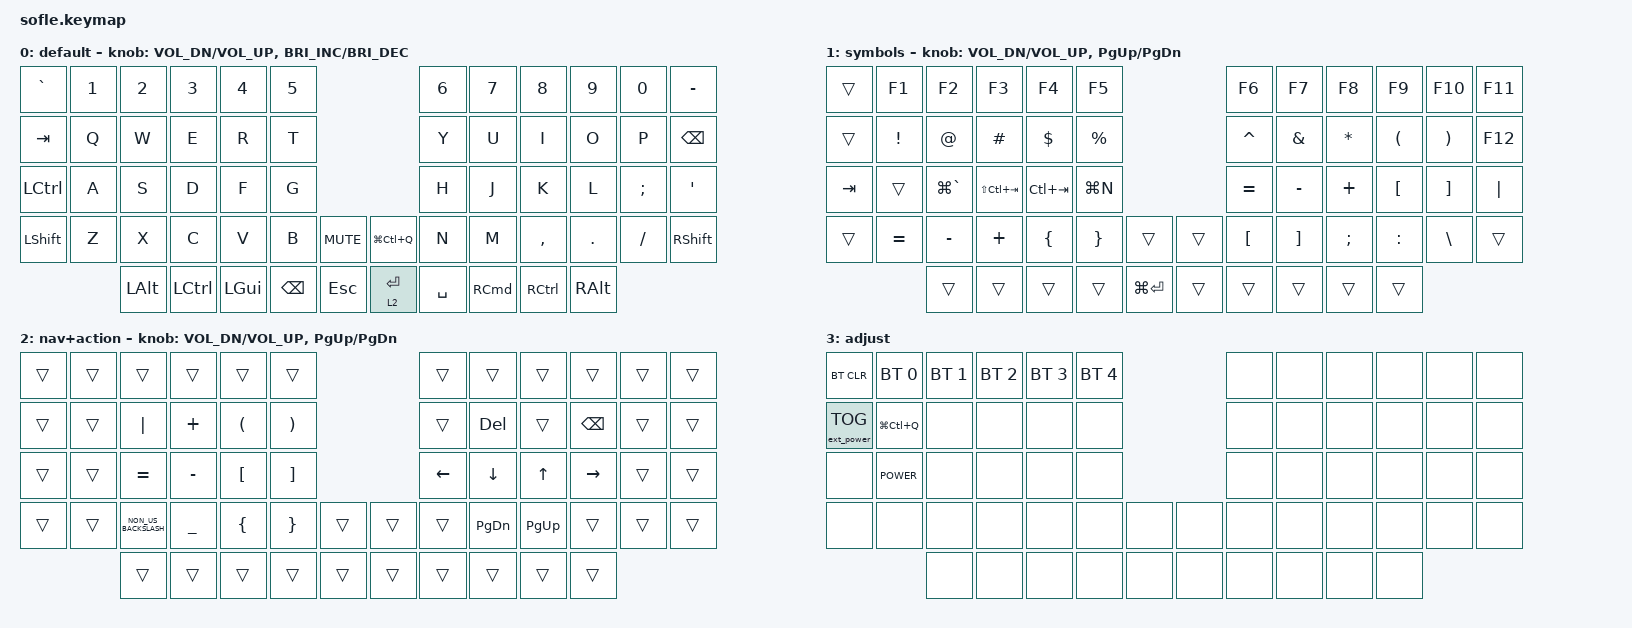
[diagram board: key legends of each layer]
/*
 * Copyright (c) 2020 The ZMK Contributors
 *
 * SPDX-License-Identifier: MIT
 */

#include <behaviors.dtsi>
#include <dt-bindings/zmk/bt.h>
#include <dt-bindings/zmk/ext_power.h>
#include <dt-bindings/zmk/keys.h>

#define BASE 0
#define LOWER 1
#define RAISE 2
#define ADJUST 3

/ {
    // Activate ADJUST layer by pressing raise and lower

    conditional_layers {
        compatible = "zmk,conditional-layers";

        adjust_layer {
            if-layers = <1 2>;
            then-layer = <3>;
        };
    };

    behaviors {
        hold_tap: hold_tap {
            compatible = "zmk,behavior-hold-tap";
            label = "HOLD_TAP";
            bindings = <&kp>, <&kp>;

            #binding-cells = <2>;
            tapping-term-ms = <200>;
        };
    };

    keymap {
        compatible = "zmk,keymap";

        default_layer {
            display-name = "default";

            // ------------------------------------------------------------------------------------------------------------
            // |   `   |  1  |  2  |  3   |  4   |  5   |                   |  6   |  7    |  8    |  9   |   0   |       |
            // |  ESC  |  Q  |  W  |  E   |  R   |  T   |                   |  Y   |  U    |  I    |  O   |   P   | BKSPC |
            // |  TAB  |  A  |  S  |  D   |  F   |  G   |                   |  H   |  J    |  K    |  L   |   ;   |   '   |
            // | SHIFT |  Z  |  X  |  C   |  V   |  B   |  MUTE  |  |       |  N   |  M    |  ,    |  .   |   /   | SHIFT |
            //               | GUI | ALT  | CTRL | LOWER|  ENTER |  | SPACE | RAISE| CTRL  | ALT   | GUI  |

            bindings = <
&kp GRAVE  &kp N1  &kp N2        &kp N3            &kp N4    &kp N5                                      &kp N6     &kp N7             &kp N8     &kp N9         &kp N0    &kp MINUS
&kp TAB    &kp Q   &kp W         &kp E             &kp R     &kp T                                       &kp Y      &kp U              &kp I      &kp O          &kp P     &kp BSPC
&kp LCTRL  &kp A   &kp S         &kp D             &kp F     &kp G                                       &kp H      &kp J              &kp K      &kp L          &kp SEMI  &kp SQT
&kp LSHFT  &kp Z   &kp X         &kp C             &kp V     &kp B          &kp C_MUTE    &kp LG(LC(Q))  &kp N      &kp M              &kp COMMA  &kp DOT        &kp FSLH  &kp RSHFT
                   &kp LEFT_ALT  &kp LEFT_CONTROL  &kp LGUI  &kp BACKSPACE  &kp ESCAPE    &lt 2 ENTER    &kp SPACE  &kp RIGHT_COMMAND  &kp RCTRL  &kp RIGHT_ALT
            >;

            sensor-bindings =
                <&inc_dec_kp C_VOL_DN C_VOL_UP>,
                <&inc_dec_kp C_BRIGHTNESS_INC C_BRIGHTNESS_DEC>;
        };

        left_layer {
            display-name = "symbols";

            // TODO: Some binds are waiting for shifted keycode support.
            // ------------------------------------------------------------------------------------------------------------
            // |       |  F1 |  F2 |  F3  |  F4  |  F5  |                   |  F6  |  F7   |  F8   |  F9  |  F10  |  F11  |
            // |   `   |  1  |  2  |  3   |  4   |  5   |                   |  6   |  7    |  8    |  9   |   0   |  F12  |
            // |       |  !  |  @  |  #   |  $   |  %   |                   |  ^   |  &    |  *    |  (   |   )   |   |   |
            // |       |  =  |  -  |  +   |  {   |  }   |        |  |       |  [   |  ]    |  ;    |  :   |   \   |       |
            //               |     |      |      |      |        |  |       |      |       |       |      |

            bindings = <
&trans   &kp F1     &kp F2         &kp F3           &kp F4       &kp F5                              &kp F6     &kp F7     &kp F8     &kp F9     &kp F10   &kp F11
&trans   &kp EXCL   &kp AT         &kp HASH         &kp DLLR     &kp PRCNT                           &kp CARET  &kp AMPS   &kp ASTRK  &kp LPAR   &kp RPAR  &kp F12
&kp TAB  &trans     &kp LG(GRAVE)  &kp LS(LC(TAB))  &kp LC(TAB)  &kp LG(N)                           &kp EQUAL  &kp MINUS  &kp PLUS   &kp LBKT   &kp RBKT  &kp PIPE
&trans   &kp EQUAL  &kp MINUS      &kp PLUS         &kp LBRC     &kp RBRC   &trans           &trans  &kp LBKT   &kp RBKT   &kp SEMI   &kp COLON  &kp BSLH  &trans
                    &trans         &trans           &trans       &trans     &kp LG(ENTER)    &trans  &trans     &trans     &trans     &trans
            >;

            sensor-bindings =
                <&inc_dec_kp C_VOL_DN C_VOL_UP>,
                <&inc_dec_kp PG_UP PG_DN>;
        };

        right_layer {
            display-name = "nav+action";

            // ------------------------------------------------------------------------------------------------------------
            // | BTCLR | BT1  | BT2  |  BT3  |  BT4  |  BT5 |                |      |      |       |      |       |       |
            // |       | INS  | PSCR | GUI   |       |      |                | PGUP |      |   ^   |      |       |       |
            // |       | ALT  | CTRL | SHIFT |       | CAPS |                | PGDN |   <- |   v   |  ->  |  DEL  | BKSPC |
            // |       | UNDO | CUT  | COPY  | PASTE |      |      |  |      |      |      |       |      |       |       |
            //                |      |       |       |      |      |  |      |      |      |       |      |

            bindings = <
&trans  &trans  &trans                &trans          &trans                &trans                                   &trans    &trans     &trans     &trans     &trans  &trans
&trans  &trans  &kp PIPE              &kp PLUS        &kp LEFT_PARENTHESIS  &kp RIGHT_PARENTHESIS                    &trans    &kp DEL    &trans     &kp BSPC   &trans  &trans
&trans  &trans  &kp EQUAL             &kp MINUS       &kp LEFT_BRACKET      &kp RIGHT_BRACKET                        &kp LEFT  &kp DOWN   &kp UP     &kp RIGHT  &trans  &trans
&trans  &trans  &kp NON_US_BACKSLASH  &kp UNDERSCORE  &kp LEFT_BRACE        &kp RIGHT_BRACE        &trans    &trans  &trans    &kp PG_DN  &kp PG_UP  &trans     &trans  &trans
                &trans                &trans          &trans                &trans                 &trans    &trans  &trans    &trans     &trans     &trans
            >;

            sensor-bindings =
                <&inc_dec_kp C_VOL_DN C_VOL_UP>,
                <&inc_dec_kp PG_UP PG_DN>;
        };

        adjust_layer {
            // ----------------------------------------------------------------------------------------------------------------------------
            // | BTCLR  |  BT1    |  BT2    |   BT3   |   BT4   |   BT5   |                  |      |      |       |      |       |       |
            // | EXTPWR | RGB_HUD | RGB_HUI | RGB_SAD | RGB_SAI | RGB_EFF |                  |      |      |       |      |       |       |
            // |        | RGB_BRD | RGB_BRI |         |         |         |                  |      |      |       |      |       |       |
            // |        |         |         |         |         |         | RGB_TOG | |      |      |      |       |      |       |       |
            //                    |         |         |         |         |         | |      |      |      |       |      |

            display-name = "adjust";
            bindings = <
&bt BT_CLR         &bt BT_SEL 0   &bt BT_SEL 1  &bt BT_SEL 2  &bt BT_SEL 3  &bt BT_SEL 4                  &none  &none  &none  &none  &none  &none
&ext_power EP_TOG  &kp LG(LC(Q))  &none         &none         &none         &none                         &none  &none  &none  &none  &none  &none
&none              &kp K_POWER    &none         &none         &none         &none                         &none  &none  &none  &none  &none  &none
&none              &none          &none         &none         &none         &none         &none    &none  &none  &none  &none  &none  &none  &none
                                  &none         &none         &none         &none         &none    &none  &none  &none  &none  &none
            >;
        };
    };
};
